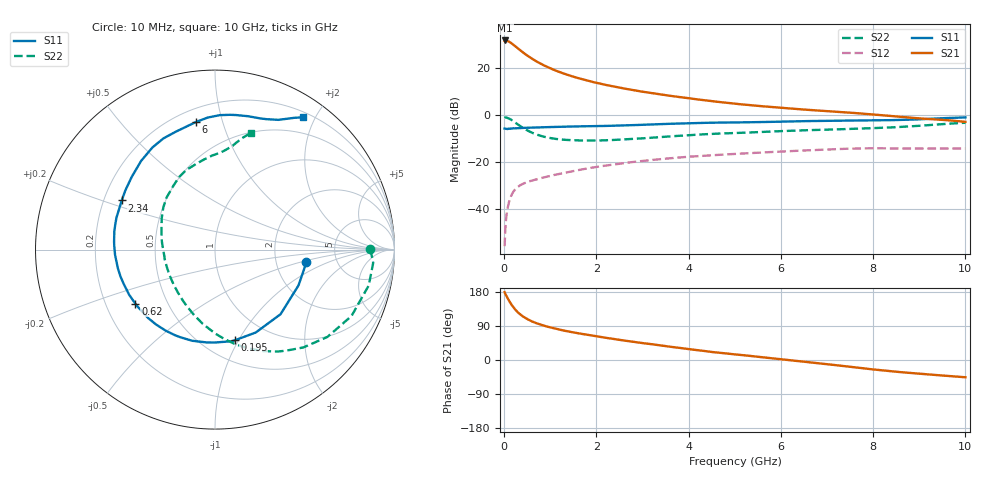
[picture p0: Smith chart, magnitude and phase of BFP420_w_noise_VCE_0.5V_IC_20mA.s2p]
! Infineon Technologies  Discrete & RF Semiconductors
! BFP420
! VCE =  0.5 V,  IC =  20 mA
! Common Emitter S-Parameters:  Jan 2016
# GHz  S  MA  R  50
!  f  S11  S21  S12  S22
! GHz  MAG  ANG  MAG  ANG  MAG  ANG  MAG  ANG
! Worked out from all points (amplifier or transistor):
!   233 points, 10 MHz to 10 GHz, reference 50 ohm
!   highest |S21| = 31.7 dB at 20 MHz (marker M1)
!   |S21| within 3 dB of that: start of sweep to 274.5 MHz
!   unconditionally stable (mu >= 1): start of sweep to 14.95 MHz; 1.595 GHz to end of sweep
!   at 200 MHz: K = 0.27, MSG = 31.3 dB, |S12| = -32.7 dB
!   at 1.74 GHz: K = 1.03, MAG = 17.9 dB, |S12| = -23.0 dB
!   at 10 GHz: K = 1.04, MAG = 4.4 dB, |S12| = -14.3 dB
!   lowest NFmin = 1.23 dB at 900 MHz
!   S11 on the Smith chart (normalised r, x): 10 MHz: 2.98, -0.55; 195 MHz: 0.70, -0.96; 620 MHz: 0.33, -0.28; 2.34 GHz: 0.28, +0.23; 6 GHz: 0.28, +0.82; 10 GHz: 0.27, +1.83
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0.01  0.5117 -7.7  37.31 178.9  0.0016 101.5  0.866 0.1
0.02  0.5111 -9.9  38.51 175.8  0.0029 87.9  0.8845 -4.8
0.05  0.5062 -23.2  38.2 168.6  0.0072 81.8  0.8797 -13.1
0.1  0.5128 -44.6  36.74 157.5  0.0134 74.0  0.8459 -25.9
0.15  0.5147 -63.8  34.09 147.4  0.0188 67.1  0.7932 -37.8
0.195  0.5172 -77.8  31.61 139.9  0.0228 62.0  0.7394 -46.8
0.24  0.5177 -90.1  29.07 133.2  0.026 58.0  0.6872 -55.1
0.3  0.5237 -104.1  26.01 125.3  0.0295 53.8  0.623 -65.1
0.4  0.5287 -121.4  21.74 115.5  0.0338 49.3  0.5349 -78.5
0.5  0.5331 -134.3  18.37 107.9  0.0371 46.9  0.4684 -89.7
0.62  0.5361 -145.8  15.38 101.0  0.0404 45.4  0.4116 -100.8
0.8  0.5433 -158.6  12.17 92.8  0.0451 44.6  0.3565 -115.1
1  0.551 -169.0  9.822 85.8  0.0503 44.6  0.3216 -128.4
1.3  0.5604 179.3  7.544 77.5  0.0583 44.4  0.2954 -144.6
1.68  0.5713 168.1  5.797 68.9  0.0688 43.7  0.2853 -160.9
2.34  0.5869 152.2  4.089 56.2  0.0872 40.0  0.2919 177.4
3.4  0.6363 131.6  2.721 38.3  0.1146 31.3  0.3378 151.6
5.1  0.6924 108.3  1.695 13.7  0.1494 15.9  0.4142 126.2
6  0.7191 98.4  1.418 2.2  0.1657 8.2  0.4516 116.1
6.8  0.7437 90.1  1.239 -8.3  0.1799 0.2  0.4787 106.3
8.4  0.7734 70.9  0.944 -29.8  0.1931 -17.8  0.5416 86.8
10  0.8845 56.4  0.713 -45.6  0.1926 -29.3  0.6806 72.9
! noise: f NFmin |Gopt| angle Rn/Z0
0.9  1.23  0.16  -154  0.13
1.8  1.51  0.24  -144  0.13
2.4  1.66  0.22  -141  0.15
3  1.69  0.3  -132  0.16
4  1.82  0.42  -115  0.23
5  2.28  0.48  -96  0.37
6  2.65  0.52  -86  0.56
